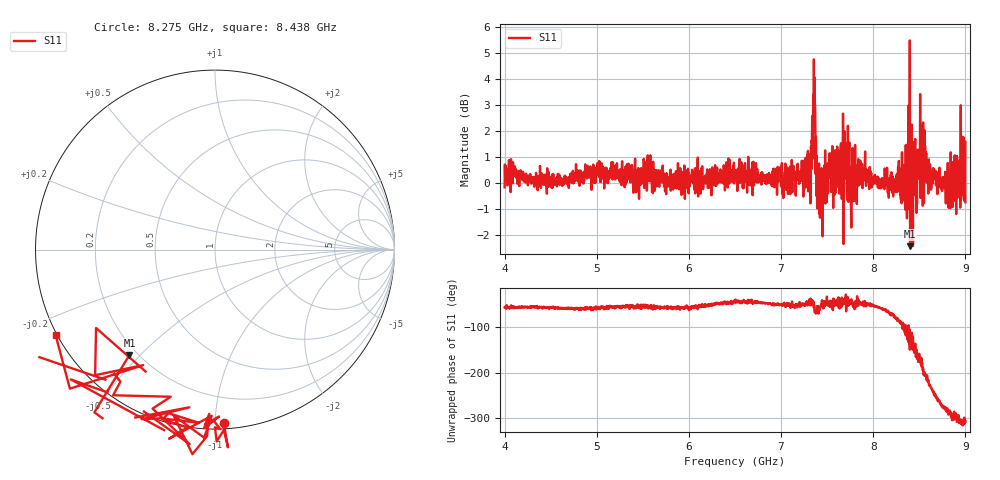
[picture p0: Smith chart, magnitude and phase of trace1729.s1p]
! Created with skrf 1.8.0 (http://scikit-rf.org).
# Hz S RI R 50.0
!freq ReS11 ImS11
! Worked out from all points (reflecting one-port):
!   1601 points, 4 GHz to 9 GHz, reference 50 ohm
!   lowest |S11| = -2.4 dB at 8.4 GHz (marker M1), VSWR 7.24, Z = 8.44 - j23.3 ohm
!   phase of S11 starts at -58 deg and turns -248 deg over the sweep
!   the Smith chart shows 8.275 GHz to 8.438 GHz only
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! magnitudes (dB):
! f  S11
! 4 GHz  -0.2
! 4.094 GHz  0.4
! 4.625 GHz  -0.1
! 5.25 GHz  0.1
! 5.875 GHz  -0.1
! 6.5 GHz  0.4
! 7.125 GHz  0.6
! 7.294 GHz  -0.3
! 7.319 GHz  -0.8
! 7.347 GHz  2.7
! 7.356 GHz  4.8
! 7.397 GHz  -0.9
! 7.416 GHz  -1.2
! 7.512 GHz  0.8
! 7.591 GHz  1.1
! 7.669 GHz  1.3
! 7.75 GHz  -0.1
! 8.35 GHz  0.3
! 8.375 GHz  -1.0
! 8.4 GHz  -2.4
! 8.447 GHz  1.6
! 8.459 GHz  -0.5
! 8.481 GHz  1.3
! 8.522 GHz  2.2
! 8.606 GHz  -0.1
! 8.812 GHz  -0.1
! 8.972 GHz  0.3
! 9 GHz  -0.7
